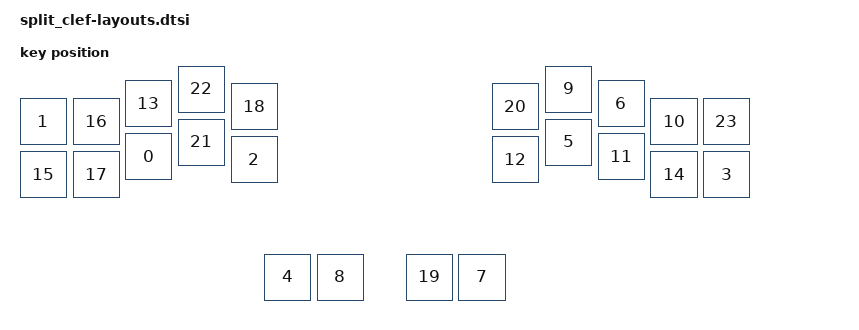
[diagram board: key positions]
#include <physical_layouts.dtsi>

/ {
    physical_layout0: physical_layout_0 {
        compatible = "zmk,physical-layout";
        display-name = "Default Layout";

         keys  //                     w   h    x    y     rot    rx    ry
            = <&key_physical_attrs 100 100  211  135       0     0     0>
            , <&key_physical_attrs 100 100    0   65       0     0     0>
            , <&key_physical_attrs 100 100  422  141       0     0     0>
            , <&key_physical_attrs 100 100 1367  171       0     0     0>
            , <&key_physical_attrs 100 100  489  376       0     0     0>
            , <&key_physical_attrs 100 100 1051  106       0     0     0>
            , <&key_physical_attrs 100 100 1156   29       0     0     0>
            , <&key_physical_attrs 100 100  878  376       0     0     0>
            , <&key_physical_attrs 100 100  594  376       0     0     0>
            , <&key_physical_attrs 100 100 1051    0       0     0     0>
            , <&key_physical_attrs 100 100 1262   65       0     0     0>
            , <&key_physical_attrs 100 100 1156  135       0     0     0>
            , <&key_physical_attrs 100 100  945  141       0     0     0>
            , <&key_physical_attrs 100 100  211   29       0     0     0>
            , <&key_physical_attrs 100 100 1262  171       0     0     0>
            , <&key_physical_attrs 100 100    0  171       0     0     0>
            , <&key_physical_attrs 100 100  106   65       0     0     0>
            , <&key_physical_attrs 100 100  106  171       0     0     0>
            , <&key_physical_attrs 100 100  422   35       0     0     0>
            , <&key_physical_attrs 100 100  773  376       0     0     0>
            , <&key_physical_attrs 100 100  945   35       0     0     0>
            , <&key_physical_attrs 100 100  317  106       0     0     0>
            , <&key_physical_attrs 100 100  317    0       0     0     0>
            , <&key_physical_attrs 100 100 1367   65       0     0     0>
            ;
    };
    };
};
